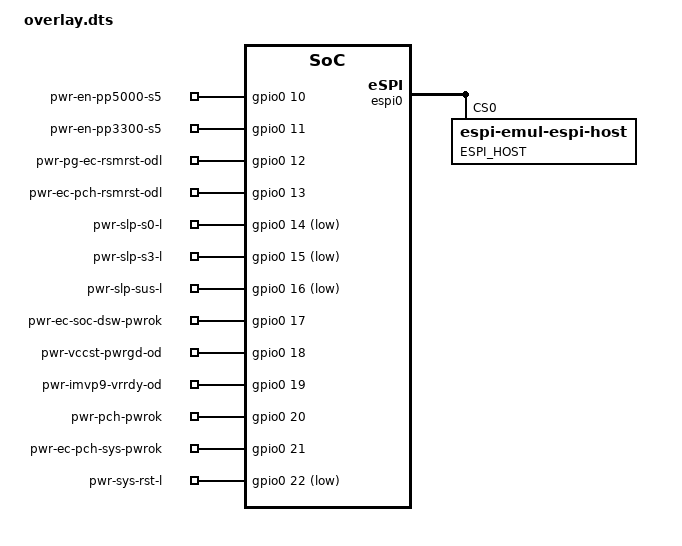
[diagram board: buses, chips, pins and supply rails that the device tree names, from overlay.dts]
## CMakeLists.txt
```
# Copyright 2021 The ChromiumOS Authors
# Use of this source code is governed by a BSD-style license that can be
# found in the LICENSE file.

cmake_minimum_required(VERSION 3.13.1)
find_package(Zephyr REQUIRED HINTS "${ZEPHYR_BASE}")
project(ap_power)

add_subdirectory(${PLATFORM_EC}/zephyr/test/test_utils test_utils)

# Include the local test directory for shimmed_test_tasks.h
zephyr_include_directories("${CMAKE_CURRENT_SOURCE_DIR}")
zephyr_include_directories("${CMAKE_CURRENT_SOURCE_DIR}/include")

target_sources(app PRIVATE
  src/ap_pwrseq.c
  src/console_command.c
  src/events.c
  src/hibdelay.c
  src/hibernate.c
  src/host_command.c
  src/test_mocks.c
  src/test_utils.c
  src/main.c)

# Generic architecture tests
target_sources_ifdef(CONFIG_TEST_AP_POWER_ADL app PRIVATE
  src/boards/alderlake.c src/signals.c)

target_sources_ifdef(CONFIG_TEST_AP_POWER_MTL app PRIVATE
  src/boards/meteorlake.c)

target_sources_ifdef(CONFIG_X86_NON_DSX_PWRSEQ_CONSOLE app PRIVATE
  src/pwrseq_console.c)

# Project specific tests
target_sources_ifdef(CONFIG_TEST_AP_POWER_BROX app PRIVATE
  ${PLATFORM_EC_PROGRAM_DIR}/brox/src/board_power.c)
```

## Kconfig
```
# Copyright 2022 The ChromiumOS Authors
# Use of this source code is governed by a BSD-style license that can be
# found in the LICENSE file.

config TEST_AP_POWER_ADL
	bool "AP power sequence tests for Alderlake"
	help
	  Run the AP power sequence tests for the Alderlake chipset.
	  This is a generic Alderlake implementation that doesn't
	  match a particular board.

config TEST_AP_POWER_MTL
	bool "AP power sequence tests for Meteorlake"
	help
	  Run the AP power sequence tests for the Meteorlake chipset.
	  This is a generic Meteorlake implementation that doesn't
	  match a particular board.

config TEST_AP_POWER_BROX
	bool "AP Power sequence tests for Brox project"
	help
	  Run the AP power sequence tests using the Brox devicetree
	  configuration and the Brox project specific source files.

config BOARD_BROX
	bool "Simulate Brox board"
	help
	  Simulate Brox board for testing purposes.


source "Kconfig.zephyr"
```

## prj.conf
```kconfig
# Copyright 2022 The ChromiumOS Authors
# Use of this source code is governed by a BSD-style license that can be
# found in the LICENSE file.

CONFIG_ZTEST=y
CONFIG_ZTEST_ASSERT_VERBOSE=1
CONFIG_ZTEST_MOCKING=y
CONFIG_ZTEST_PARAMETER_COUNT=24
CONFIG_TEST=y
CONFIG_ASSERT=y

# Print logs from Zephyr LOG_MODULE to stdout
CONFIG_NATIVE_UART_0_ON_STDINOUT=y

# Simulate 10 ticks per ms
CONFIG_SYS_CLOCK_TICKS_PER_SEC=10000
CONFIG_TASKS_SET_TEST_RUNNER_TID_RULE=y

# Enable exception stack traces for better errors
CONFIG_EXCEPTION_STACK_TRACE=y

# Enable debugging features
CONFIG_DEBUG=y
CONFIG_X86_DEBUG_INFO=y
CONFIG_DEBUG_OPTIMIZATIONS=y
CONFIG_PLATFORM_EC_CONSOLE_DEBUG=y
CONFIG_SHELL_BACKEND_DUMMY=y
CONFIG_SHELL_BACKEND_SERIAL=n
# We aren't using the serial console, but there is still a lot of code that
# assumes that a serial port exists.
CONFIG_SERIAL=y

CONFIG_PLATFORM_EC=y
CONFIG_CROS_EC=y
CONFIG_SHIMMED_TASKS=y
CONFIG_EMUL=y
CONFIG_GPIO=y
CONFIG_HEAP_MEM_POOL_SIZE=1024

CONFIG_AP_PWRSEQ_STACK_SIZE=1024

CONFIG_ESPI=y
CONFIG_EMUL_ESPI_HOST=y
CONFIG_ESPI_PERIPHERAL_ACPI_SHM_REGION=y
CONFIG_ESPI_PERIPHERAL_CUSTOM_OPCODE=y
CONFIG_ESPI_PERIPHERAL_EC_HOST_CMD=y
CONFIG_PLATFORM_EC_HOSTCMD=y
CONFIG_PLATFORM_EC_CHIPSET_RESET_HOOK=y

# Short delay for hibernate
CONFIG_PLATFORM_EC_HIBERNATE_DELAY_SEC=20

# These items are not required.
CONFIG_PLATFORM_EC_BACKLIGHT_LID=n
CONFIG_PLATFORM_EC_SWITCH=n
CONFIG_PLATFORM_EC_VBOOT_HASH=n

CONFIG_PLATFORM_EC_LID_SWITCH=y
CONFIG_PLATFORM_EC_POWER_BUTTON=y
CONFIG_PLATFORM_EC_HOST_INTERFACE_ESPI=y
```

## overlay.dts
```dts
/* Copyright 2022 The ChromiumOS Authors. All rights reserved.
 * Use of this source code is governed by a BSD-style license that can be
 * found in the LICENSE file.
 */

#include <cros/binman.dtsi>
#include <dt-bindings/gpio_defines.h>
#include <freq.h>

/ {
	chosen {
		cros-ec,espi = &espi0;
		intel-ap-pwrseq,espi = &espi0;
	};

	/*
	 * Keep these GPIOs in pin order.
	 * If you need to add one, make sure you increase
	 * ngpios in the gpio0 node further down.
	 */
	named-gpios {
		compatible = "named-gpios";

		gpio_ec_pwr_btn_odl: ec_pwr_btn_odl {
			/* GPIO_PULL_UP will cause this start asserted,
			 * i.e. not pressed.
			 */
			gpios = <&gpio0 1 (GPIO_INPUT | GPIO_PULL_UP)>;
			enum-name = "GPIO_POWER_BUTTON_L";
		};
		gpio_pch_pwrbtn_l: pch_pwrbtn_l {
			gpios = <&gpio0 2 GPIO_OUTPUT>;
			enum-name = "GPIO_PCH_PWRBTN_L";
		};
		gpio_ec_pch_wake_odl: ec_pch_wake_odl {
			gpios = <&gpio0 3 GPIO_OUTPUT_HIGH>;
		};
		gpio_lid_open_ec: lid_open_ec {
			/* GPIO_PULL_UP will cause this start asserted. */
			gpios = <&gpio0 4 (GPIO_INPUT | GPIO_PULL_UP)>;
			enum-name = "GPIO_LID_OPEN";
		};
	};
	gpio-interrupts {
		compatible = "cros-ec,gpio-interrupts";

		int_lid_open_ec: lid_open_ec {
			irq-pin = <&gpio_lid_open_ec>;
			flags = <GPIO_INT_EDGE_BOTH>;
			handler = "lid_interrupt";
		};
	};

	common-pwrseq {
		compatible = "intel,ap-pwrseq";
	};

	pwr-en-pp5000-s5 {
		compatible = "intel,ap-pwrseq-gpio";
		dbg-label = "PP5000_S5 enable output to regulator";
		enum-name = "PWR_EN_PP5000_A";
		gpios = <&gpio0 10 0>;
		output;
	};
	pwr-en-pp3300-s5 {
		compatible = "intel,ap-pwrseq-gpio";
		dbg-label = "PP3300_S5 enable output to LS";
		enum-name = "PWR_EN_PP3300_A";
		gpios = <&gpio0 11 0>;
		output;
	};
	pwr-pg-ec-rsmrst-odl {
		compatible = "intel,ap-pwrseq-gpio";
		dbg-label = "RSMRST power good from regulator";
		enum-name = "PWR_RSMRST";
		gpios = <&gpio0 12 0>;
		interrupt-flags = <GPIO_INT_EDGE_BOTH>;
	};
	pwr-ec-pch-rsmrst-odl {
		compatible = "intel,ap-pwrseq-gpio";
		dbg-label = "RSMRST output to PCH";
		enum-name = "PWR_EC_PCH_RSMRST";
		gpios = <&gpio0 13 0>;
		output;
	};
	pwr-slp-s0-l {
		compatible = "intel,ap-pwrseq-gpio";
		dbg-label = "SLP_S0_L input from PCH";
		enum-name = "PWR_SLP_S0";
		gpios = <&gpio0 14 GPIO_ACTIVE_LOW>;
		interrupt-flags = <GPIO_INT_EDGE_BOTH>;
		no-enable;
	};
	pwr-slp-s3-l {
		compatible = "intel,ap-pwrseq-gpio";
		dbg-label = "SLP_S3_L input from PCH";
		enum-name = "PWR_SLP_S3";
		gpios = <&gpio0 15 GPIO_ACTIVE_LOW>;
		interrupt-flags = <GPIO_INT_EDGE_BOTH>;
	};
	pwr-slp-sus-l {
		compatible = "intel,ap-pwrseq-gpio";
		dbg-label = "SLP_SUS_L input from PCH";
		enum-name = "PWR_SLP_SUS";
		gpios = <&gpio0 16 GPIO_ACTIVE_LOW>;
		interrupt-flags = <GPIO_INT_EDGE_BOTH>;
	};
	pwr-ec-soc-dsw-pwrok {
		compatible = "intel,ap-pwrseq-gpio";
		dbg-label = "DSW_PWROK output to PCH";
		enum-name = "PWR_EC_SOC_DSW_PWROK";
		gpios = <&gpio0 17 0>;
		output;
	};
	pwr-vccst-pwrgd-od {
		compatible = "intel,ap-pwrseq-gpio";
		dbg-label = "VCCST_PWRGD output to PCH";
		enum-name = "PWR_VCCST_PWRGD";
		gpios = <&gpio0 18 0>;
		output;
	};
	pwr-imvp9-vrrdy-od {
		compatible = "intel,ap-pwrseq-gpio";
		dbg-label = "VRRDY input from IMVP9";
		enum-name = "PWR_IMVP9_VRRDY";
		gpios = <&gpio0 19 0>;
	};
	pwr-pch-pwrok {
		compatible = "intel,ap-pwrseq-gpio";
		dbg-label = "PCH_PWROK output to PCH";
		enum-name = "PWR_PCH_PWROK";
		gpios = <&gpio0 20 0>;
		output;
	};
	pwr-ec-pch-sys-pwrok {
		compatible = "intel,ap-pwrseq-gpio";
		dbg-label = "SYS_PWROK output to PCH";
		enum-name = "PWR_EC_PCH_SYS_PWROK";
		gpios = <&gpio0 21 0>;
		output;
	};
	pwr-sys-rst-l {
		compatible = "intel,ap-pwrseq-gpio";
		dbg-label = "SYS_RESET# output to PCH";
		enum-name = "PWR_SYS_RST";
		gpios = <&gpio0 22 GPIO_ACTIVE_LOW>;
		output;
	};
	pwr-slp-s4 {
		compatible = "intel,ap-pwrseq-vw";
		dbg-label = "SLP_S4 virtual wire input from PCH";
		enum-name = "PWR_SLP_S4";
		virtual-wire = "ESPI_VWIRE_SIGNAL_SLP_S4";
		vw-invert;
	};
	pwr-slp-s5 {
		compatible = "intel,ap-pwrseq-vw";
		dbg-label = "SLP_S5 virtual wire input from PCH";
		enum-name = "PWR_SLP_S5";
		virtual-wire = "ESPI_VWIRE_SIGNAL_SLP_S5";
		vw-invert;
	};
	pwr-all-sys-pwrgd {
		compatible = "intel,ap-pwrseq-external";
		dbg-label = "Combined all power good";
		enum-name = "PWR_ALL_SYS_PWRGD";
	};
	pwr-pp3300-pwrok {
		compatible = "intel,ap-pwrseq-external";
		dbg-label = "PP3300 PWROK";
		enum-name = "PWR_DSW_PWROK";
	};
	pwr-pp1p05-pwrok {
		compatible = "intel,ap-pwrseq-external";
		dbg-label = "PP1P05 PWROK";
		enum-name = "PWR_PG_PP1P05";
	};

	clock: clock {
		compatible = "cros,clock-control-emul";
		clock-frequency = <DT_FREQ_M(100)>; /* 100 MHz */
	};
};

&espi0 {
	espi-host@0 {
		status = "okay";
		compatible = "zephyr,espi-emul-espi-host";
		reg = <0x0>;
		label = "ESPI_HOST";
	};
};

&gpio0 {
	ngpios = <23>;
};
```

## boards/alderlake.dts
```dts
/* Copyright 2022 The ChromiumOS Authors
 * Use of this source code is governed by a BSD-style license that can be
 * found in the LICENSE file.
 */

#include <dt-bindings/gpio_defines.h>
#include "alderlake_emul.dtsi"

/ {
	common-pwrseq {
		compatible = "intel,ap-pwrseq";
		s5-inactivity-timeout = <1>;
		all-sys-pwrgd-timeout = <50>;
	};

	en_pp5000: pwr-en-pp5000-s5 {
		compatible = "intel,ap-pwrseq-gpio";
		dbg-label = "PP5000_S5 enable output to regulator";
		enum-name = "PWR_EN_PP5000_A";
		gpios = <&gpio0 10 0>;
		output;
	};
	en_pp3300: pwr-en-pp3300-s5 {
		compatible = "intel,ap-pwrseq-gpio";
		dbg-label = "PP3300_S5 enable output to LS";
		enum-name = "PWR_EN_PP3300_A";
		gpios = <&gpio0 11 0>;
		output;
	};
	rsmrst: pwr-pg-ec-rsmrst-odl {
		compatible = "intel,ap-pwrseq-gpio";
		dbg-label = "RSMRST power good from regulator";
		enum-name = "PWR_RSMRST";
		gpios = <&gpio0 12 GPIO_ACTIVE_LOW>;
		interrupt-flags = <GPIO_INT_EDGE_BOTH>;
	};
	ec_pch_rsmrst: pwr-ec-pch-rsmrst-odl {
		compatible = "intel,ap-pwrseq-gpio";
		dbg-label = "RSMRST output to PCH";
		enum-name = "PWR_EC_PCH_RSMRST";
		gpios = <&gpio0 13 0>;
		output;
	};
	slp_s0: pwr-slp-s0-l {
		compatible = "intel,ap-pwrseq-gpio";
		dbg-label = "SLP_S0_L input from PCH";
		enum-name = "PWR_SLP_S0";
		gpios = <&gpio0 14 GPIO_ACTIVE_LOW>;
		interrupt-flags = <GPIO_INT_EDGE_BOTH>;
		no-enable;
	};
	slp_s3: pwr-slp-s3-l {
		compatible = "intel,ap-pwrseq-gpio";
		dbg-label = "SLP_S3_L input from PCH";
		enum-name = "PWR_SLP_S3";
		gpios = <&gpio0 15 GPIO_ACTIVE_LOW>;
		interrupt-flags = <GPIO_INT_EDGE_BOTH>;
	};
	slp_sus: pwr-slp-sus-l {
		compatible = "intel,ap-pwrseq-gpio";
		dbg-label = "SLP_SUS_L input from PCH";
		enum-name = "PWR_SLP_SUS";
		gpios = <&gpio0 16 GPIO_ACTIVE_LOW>;
		interrupt-flags = <GPIO_INT_EDGE_BOTH>;
	};
	ec_soc_dsw_pwrok: pwr-ec-soc-dsw-pwrok {
		compatible = "intel,ap-pwrseq-gpio";
		dbg-label = "DSW_PWROK output to PCH";
		enum-name = "PWR_EC_SOC_DSW_PWROK";
		gpios = <&gpio0 17 0>;
		output;
	};
	pwr-vccst-pwrgd-od {
		compatible = "intel,ap-pwrseq-gpio";
		dbg-label = "VCCST_PWRGD output to PCH";
		enum-name = "PWR_VCCST_PWRGD";
		gpios = <&gpio0 18 0>;
		output;
	};
	pwr-imvp9-vrrdy-od {
		compatible = "intel,ap-pwrseq-gpio";
		dbg-label = "VRRDY input from IMVP9";
		enum-name = "PWR_IMVP9_VRRDY";
		gpios = <&gpio0 19 0>;
	};
	pch_pwrok: pwr-pch-pwrok {
		compatible = "intel,ap-pwrseq-gpio";
		dbg-label = "PCH_PWROK output to PCH";
		enum-name = "PWR_PCH_PWROK";
		gpios = <&gpio0 20 0>;
		output;
	};
	pwr-ec-pch-sys-pwrok {
		compatible = "intel,ap-pwrseq-gpio";
		dbg-label = "SYS_PWROK output to PCH";
		enum-name = "PWR_EC_PCH_SYS_PWROK";
		gpios = <&gpio0 21 0>;
		output;
	};
	pwr-sys-rst-l {
		compatible = "intel,ap-pwrseq-gpio";
		dbg-label = "SYS_RESET# output to PCH";
		enum-name = "PWR_SYS_RST";
		gpios = <&gpio0 22 GPIO_ACTIVE_LOW>;
		output;
	};
	slp_s4: pwr-slp-s4 {
		compatible = "intel,ap-pwrseq-vw";
		dbg-label = "SLP_S4 virtual wire input from PCH";
		enum-name = "PWR_SLP_S4";
		virtual-wire = "ESPI_VWIRE_SIGNAL_SLP_S4";
		vw-invert;
	};
	slp_s5: pwr-slp-s5 {
		compatible = "intel,ap-pwrseq-vw";
		dbg-label = "SLP_S5 virtual wire input from PCH";
		enum-name = "PWR_SLP_S5";
		virtual-wire = "ESPI_VWIRE_SIGNAL_SLP_S5";
		vw-invert;
	};
	all_sys_pwrgd: pwr-all-sys-pwrgd {
		compatible = "intel,ap-pwrseq-external";
		dbg-label = "Combined all power good";
		enum-name = "PWR_ALL_SYS_PWRGD";
	};
	dsw_pwrok: pwr-pp3300-pwrok {
		compatible = "intel,ap-pwrseq-external";
		dbg-label = "PP3300 PWROK";
		enum-name = "PWR_DSW_PWROK";
	};

	adc0: adc {
		compatible = "zephyr,adc-emul";
		nchannels = <6>;
		ref-internal-mv = <3300>;
		#io-channel-cells = <1>;
		status = "okay";
	};
	mock_cmp_high: mock-cmp-high {
		compatible = "cros,vcmp-mock";
		threshold-mv = <50>;
		io-channels = <&adc0 0>;
	};
	mock_cmp_low: mock-cmp-low {
		compatible = "cros,vcmp-mock";
		threshold-mv = <100>;
		io-channels = <&adc0 1>;
	};
	pwr-pp1p05-pwrok {
		compatible = "intel,ap-pwrseq-adc";
		dbg-label = "PP1P05 PWROK (from ADC)";
		enum-name = "PWR_PG_PP1P05";
		trigger-high = <&mock_cmp_high>;
		trigger-low = <&mock_cmp_low>;
	};
};
```

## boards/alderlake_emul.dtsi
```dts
/* Copyright 2022 The ChromiumOS Authors
 * Use of this source code is governed by a BSD-style license that can be
 * found in the LICENSE file.
 */

/ {
	en_pp3300_emul: en-pp3300-emul {
		compatible = "intel,ap-pwr-signal-emul";
		input-signal = <&en_pp3300>;
		init-value = <0>;
		pp3300-dsw-pwrok-emul {
			output-signal = <&dsw_pwrok>;
			assert-delay-ms = <10>;
			init-value= <0>;
		};
	};

	en_pp5000_emul: en-pp5000-emul {
		compatible = "intel,ap-pwr-signal-emul";
		input-signal = <&en_pp5000>;
		init-value = <0>;
		pp5000-rsmrst-emul {
			output-signal = <&rsmrst>;
			assert-delay-ms = <40>;
			init-value= <0>;
		};
	};

	ec_soc_dsw_pwrok_emul: ec-soc-dsw-pwrok-emul {
		compatible = "intel,ap-pwr-signal-emul";
		input-signal = <&ec_soc_dsw_pwrok>;
		init-value = <0>;
		ec-dsw-pwrok-slp-sus-emul {
			output-signal = <&slp_sus>;
			assert-delay-ms = <95>;
			init-value= <1>;
			invert-value;
		};
	};

	ec_pch_rsmrst_emul: ec-pch-rsmrst-emul {
		compatible = "intel,ap-pwr-signal-emul";
		input-signal = <&ec_pch_rsmrst>;
		init-value = <1>;
		ec-pch-rsmrst-slp-s5-emul {
			output-signal = <&slp_s5>;
			deassert-delay-ms = <20>;
			init-value= <1>;
		};
		ec-pch-rsmrst-slp-s4-emul {
			output-signal = <&slp_s4>;
			deassert-delay-ms = <30>;
			init-value= <1>;
		};
		ec-pch-rsmrst-slp-s3-emul {
			output-signal = <&slp_s3>;
			deassert-delay-ms = <40>;
			init-value= <1>;
		};
		ec-pch-rsmrst-slp-s0-emul {
			output-signal = <&slp_s0>;
			deassert-delay-ms = <45>;
			init-value= <1>;
		};
		ec-pch-rsmrst-all-sys-pwrgd {
			output-signal = <&all_sys_pwrgd>;
			deassert-delay-ms = <50>;
			init-value= <0>;
			invert-value;
		};
	};

	tp-sys-g3-to-s0 {
		compatible = "intel,ap-pwr-test-platform";
		nodes = <&en_pp3300_emul &en_pp5000_emul
			      &ec_soc_dsw_pwrok_emul &ec_pch_rsmrst_emul>;
	};

	pch_pwrok_power_fail_emul: pch-pwrok-power-fail-emul {
		compatible = "intel,ap-pwr-signal-emul";
		input-signal = <&pch_pwrok>;
		init-value = <0>;
		pch-pwrok-dsw-pwrok-emul {
			output-signal = <&dsw_pwrok>;
			assert-delay-ms = <50>;
			invert-value;
		};
		pch-pwrok-slp-sus-emul {
			output-signal = <&slp_sus>;
			assert-delay-ms = <60>;
		};
	};

	tp-sys-s0-power-fail {
		compatible = "intel,ap-pwr-test-platform";
		nodes = <&pch_pwrok_power_fail_emul>;
	};

	pch_pwrok_power_down_emul: pch-pwrok-power-down-emul {
		compatible = "intel,ap-pwr-signal-emul";
		input-signal = <&pch_pwrok>;
		init-value = <0>;
		edge = "EDGE_ACTIVE_ON_ASSERT";
		pch-pwrok-slp-sus-emul {
			output-signal = <&slp_sus>;
			assert-delay-ms = <70>;
		};

		pch_pwrok-rsmrst-emul {
			output-signal = <&rsmrst>;
			assert-delay-ms = <60>;
		};

		pch-pwrok-slp-s5-emul {
			output-signal = <&slp_s5>;
			assert-delay-ms = <50>;
		};

		pch-pwrok-slp-s4-emul {
			output-signal = <&slp_s4>;
			assert-delay-ms = <30>;
		};

		pch-pwrok-slp-s3-emul {
			output-signal = <&slp_s3>;
			assert-delay-ms = <20>;
		};

		pch-pwrok-slp-s0-emul {
			output-signal = <&slp_s0>;
			assert-delay-ms = <15>;
		};
	};

	tp-sys-g3-to-s0-power-down {
		compatible = "intel,ap-pwr-test-platform";
		nodes = <&en_pp3300_emul &en_pp5000_emul
			      &ec_soc_dsw_pwrok_emul &ec_pch_rsmrst_emul
			      &pch_pwrok_power_down_emul>;
	};

	pch_pwrok_power_down_to_s5_emul: pch-pwrok-power-down-to-s5-emul {
		compatible = "intel,ap-pwr-signal-emul";
		input-signal = <&pch_pwrok>;
		init-value = <0>;
		edge = "EDGE_ACTIVE_ON_ASSERT";

		pch-pwrok-slp-s5-emul {
			output-signal = <&slp_s5>;
			assert-delay-ms = <60>;
		};

		pch-pwrok-slp-s4-emul {
			output-signal = <&slp_s4>;
			assert-delay-ms = <40>;
		};

		pch-pwrok-slp-s3-emul {
			output-signal = <&slp_s3>;
			assert-delay-ms = <20>;
		};

		pch-pwrok-slp-s0-emul {
			output-signal = <&slp_s0>;
			assert-delay-ms = <15>;
		};
		ec-pch-rsmrst-all-sys-pwrgd {
			output-signal = <&all_sys_pwrgd>;
			deassert-delay-ms = <10>;
			invert-value;
		};
	};

	tp-sys-g3-to-s0-power-down-to-s5 {
		compatible = "intel,ap-pwr-test-platform";
		nodes = <&en_pp3300_emul &en_pp5000_emul  &ec_pch_rsmrst_emul
			     &ec_soc_dsw_pwrok_emul  &pch_pwrok_power_down_to_s5_emul>;
	};

	tp-sys-s5-slp-sus-fail {
		compatible = "intel,ap-pwr-test-platform";
		nodes = <&en_pp3300_emul>;
	};

	ec_pch_rsmrst_s4_dsw_pwrok_fail_emul:
			ec-pch-rsmrst-s4-dsw-pwrok-fail-emul {
		compatible = "intel,ap-pwr-signal-emul";
		input-signal = <&ec_pch_rsmrst>;
		init-value = <1>;
		ec-pch-rsmrst-slp-s5-emul {
			output-signal = <&slp_s5>;
			deassert-delay-ms = <20>;
			init-value= <1>;
		};
		ec-pch-rsmrst-slp-s4-emul {
			output-signal = <&slp_s4>;
			deassert-delay-ms = <30>;
			init-value= <1>;
		};
		pch-pwrok-dsw-pwrok-emul {
			output-signal = <&dsw_pwrok>;
			deassert-delay-ms = <50>;
		};
	};

	tp-sys-s4-dsw-pwrok-fail {
		compatible = "intel,ap-pwr-test-platform";
		nodes = <&en_pp3300_emul &en_pp5000_emul &ec_soc_dsw_pwrok_emul
			     &ec_pch_rsmrst_s4_dsw_pwrok_fail_emul>;
	};

	ec_pch_rsmrst_s3_dsw_pwrok_fail_emul:
			ec-pch-rsmrst-s3-dsw-pwrok-fail-emul {
		compatible = "intel,ap-pwr-signal-emul";
		input-signal = <&ec_pch_rsmrst>;
		init-value = <1>;
		edge = "EDGE_ACTIVE_ON_DEASSERT";
		ec-pch-rsmrst-slp-s5-emul {
			output-signal = <&slp_s5>;
			deassert-delay-ms = <20>;
			init-value= <1>;
		};
		ec-pch-rsmrst-slp-s4-emul {
			output-signal = <&slp_s4>;
			deassert-delay-ms = <30>;
			init-value= <1>;
		};
		ec-pch-rsmrst-slp-s3-emul {
			output-signal = <&slp_s3>;
			deassert-delay-ms = <30>;
			init-value= <1>;
		};
		pch-pwrok-dsw-pwrok-emul {
			output-signal = <&dsw_pwrok>;
			deassert-delay-ms = <50>;
		};
	};

	tp-sys-s3-dsw-pwrok-fail {
		compatible = "intel,ap-pwr-test-platform";
		nodes = <&en_pp3300_emul &en_pp5000_emul &ec_soc_dsw_pwrok_emul
			     &ec_pch_rsmrst_s3_dsw_pwrok_fail_emul>;
	};

	ec_pch_rsmrst_s3_rsmrst_deassert_emul:
		ec-pch-rsmrst-s3-rsmrst-deassert-emul {
		compatible = "intel,ap-pwr-signal-emul";
		input-signal = <&ec_pch_rsmrst>;
		init-value = <1>;
		edge = "EDGE_ACTIVE_ON_DEASSERT";
		ec-pch-rsmrst-slp-s5-emul {
			output-signal = <&slp_s5>;
			deassert-delay-ms = <20>;
			init-value= <1>;
		};
		ec-pch-rsmrst-slp-s4-emul {
			output-signal = <&slp_s4>;
			deassert-delay-ms = <30>;
			init-value= <1>;
		};
		ec-pch-rsmrst-slp-s3-emul {
			output-signal = <&slp_s3>;
			deassert-delay-ms = <40>;
			init-value= <1>;
		};
		ec-pch-rsmrst-slp-s3-deassert-emul {
			output-signal = <&slp_s3>;
			deassert-delay-ms = <60>;
			invert-value;
		};
		pch_pch-rsmrst-rsmrst-deassert-emul {
			output-signal = <&rsmrst>;
			deassert-delay-ms = <100>;
		};
	};

	tp-sys-s3-rsmrst-fail {
		compatible = "intel,ap-pwr-test-platform";
		nodes = <&en_pp3300_emul &en_pp5000_emul &ec_soc_dsw_pwrok_emul
			     &ec_pch_rsmrst_s3_rsmrst_deassert_emul>;
	};

	pch_sleep: pch-sleep {
		compatible = "intel,ap-pwr-signal-emul";
		input-signal = <&pch_pwrok>;

		slp-s0-suspend-emul {
			output-signal = <&slp_s0>;
			init-value=<1>;
		};
	};

	tp-sys-sleep {
		compatible = "intel,ap-pwr-test-platform";
		nodes = <&pch_sleep>;
	};

	pch_wake: pch-wake {
		compatible = "intel,ap-pwr-signal-emul";
		input-signal = <&pch_pwrok>;

		slp-s0-resume-emul {
			output-signal = <&slp_s0>;
			init-value=<0>;
		};
	};

	tp-sys-wake {
		compatible = "intel,ap-pwr-test-platform";
		nodes = <&pch_wake>;
	};

};
```

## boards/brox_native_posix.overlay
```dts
/* Copyright 2023 The ChromiumOS Authors
 * Use of this source code is governed by a BSD-style license that can be
 * found in the LICENSE file.
 */

#include <board-overlays/native_posix.dts>
#include <dt-bindings/gpio_defines.h>
#include <it8xxx2_emul.dts>
#include "../../../program/brox/power_signals.dtsi"
#include "alderlake_emul.dtsi"

/ {
/delete-node/ pwrseq-common;
	pwrseq-common {
		s5-inactivity-timeout = <1>;
		dsw-pwrok-delay = <13>;
		sys-pwrok-delay = <10>;
		all-sys-pwrgd-timeout = <20>;
	};

	/*
	 * Create nodelabels matching the common alderlake emulator.
	 * Also clear the GPIO_OPEN_DRAIN flags on any power signals
	 * because open drain operation is not supported by the GPIO
	 * emulator.
	 */

	en_pp3300: pwr-en-s5-rails {
	};
	pwr_pg_vccin_aux_od: pwr-pg-vccin-aux-od {
	};
	rsmrst: pwr-pg-vccin-aux-od {
	};
	ec_pch_rsmrst: pwr-ec-pch-rsmrst-odl {
	};
	slp_s0: pwr-slp-s0-l {
	};
	slp_s3: pwr-slp-s3-l {
	};
	slp_s4: pwr-slp-s4-l {
	};
	slp_s5: pwr-slp-s5-l {
	};
	slp_sus: pwr-slp-sus-l {
	};
	dsw_pwrok: pwr-dsw-pwrok {
	};
	ec_soc_dsw_pwrok: pwr-ec-soc-dsw-pwrok {
	};
	pwr-vccst-pwrgd-od {
		gpios = <&gpioh 4 0>;
	};
	pch_pwrok: pwr-pch-pwrok {
		gpios = <&gpiob 5 0>;
	};
	pwr-sys-rst-l {
		gpios = <&gpiog 0 GPIO_ACTIVE_LOW>;
	};
	all_sys_pwrgd: pwr-all-sys-pwrgd {
	};
	pwr_imvp9_vrrdy_od: pwr-imvp9-vrrdy-od {
	};

	/* TODO: add emulator to drive PWR_IMVP9_VRRDY */

	/*
	 * Brox doesn't have a PG signal for the PP3300/PP5000 rails.
	 * To simulate a power loss, just turn off the enable signal.
	 */
	/delete-node/ en-pp3300-emul;
	en_pp3300_emul: en-pp3300-emul {
		compatible = "intel,ap-pwr-signal-emul";
		input-signal = <&en_pp3300>;
		init-value = <0>;
		pg-vccin-aux-od-emul {
			output-signal = <&pwr_pg_vccin_aux_od>;
			assert-delay-ms = <10>;
			init-value= <0>;
		};
	};

	/* Stub node - not referenced once all the devictrees merged. */
	en_pp5000_emul: en-pp5000-emul {
		compatible = "intel,ap-pwr-signal-emul";
		input-signal = <&en_pp3300>;
		init-value = <0>;
		pp5000-rsmrst-emul {
			output-signal = <&rsmrst>;
			assert-delay-ms = <40>;
			init-value= <0>;
		};
	};

	/delete-node/ ec-pch-rsmrst-s4-dsw-pwrok-fail-emul;
	ec_pch_rsmrst_s4_dsw_pwrok_fail_emul:
			ec-pch-rsmrst-s4-dsw-pwrok-fail-emul {
		compatible = "intel,ap-pwr-signal-emul";
		input-signal = <&ec_pch_rsmrst>;
		edge = "EDGE_ACTIVE_ON_DEASSERT";
		init-value = <1>;
		ec-pch-rsmrst-slp-s5-emul {
			output-signal = <&slp_s5>;
			deassert-delay-ms = <20>;
			init-value= <1>;
		};
		ec-pch-rsmrst-slp-s4-emul {
			output-signal = <&slp_s4>;
			deassert-delay-ms = <30>;
			init-value= <1>;
		};
		pch-pwrok-dsw-pwrok-emul {
			output-signal = <&slp_sus>;
			deassert-delay-ms = <50>;
			invert-value;
		};
	};

	/delete-node/ ec-pch-rsmrst-s3-dsw-pwrok-fail-emul;
	ec_pch_rsmrst_s3_dsw_pwrok_fail_emul:
			ec-pch-rsmrst-s3-dsw-pwrok-fail-emul {
		compatible = "intel,ap-pwr-signal-emul";
		input-signal = <&ec_pch_rsmrst>;
		init-value = <1>;
		edge = "EDGE_ACTIVE_ON_DEASSERT";
		ec-pch-rsmrst-slp-s5-emul {
			output-signal = <&slp_s5>;
			deassert-delay-ms = <20>;
			init-value= <1>;
		};
		ec-pch-rsmrst-slp-s4-emul {
			output-signal = <&slp_s4>;
			deassert-delay-ms = <30>;
			init-value= <1>;
		};
		ec-pch-rsmrst-slp-sus-emul {
			output-signal = <&slp_sus>;
			deassert-delay-ms = <31>;
			invert-value;
		};
	};
};

/* Assert IMVP9_VRRDY after all-sys-pwrgd */
&ec_pch_rsmrst_emul {
	all-sys-pwrgd-imvp9-vrrdy-emul {
		output-signal = <&pwr_imvp9_vrrdy_od>;
		assert-delay-ms = <51>;
		init-value= <0>;
		invert-value;
	};
};
```

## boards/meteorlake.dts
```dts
/* Copyright 2023 The ChromiumOS Authors
 * Use of this source code is governed by a BSD-style license that can be
 * found in the LICENSE file.
 */

#include <dt-bindings/gpio_defines.h>

/ {
	common-pwrseq {
		compatible = "intel,ap-pwrseq";
		s5-inactivity-timeout = <5>;
		all-sys-pwrgd-timeout = <50>;
	};

	en_pp3300: pwr-en-pp3300-s5 {
		compatible = "intel,ap-pwrseq-gpio";
		dbg-label = "PP3300_S5 enable output to LS";
		enum-name = "PWR_EN_PP3300_A";
		gpios = <&gpio0 11 0>;
		output;
	};
	ec_pch_rsmrst: pwr-ec-pch-rsmrst-odl {
		compatible = "intel,ap-pwrseq-gpio";
		dbg-label = "RSMRST output to PCH";
		enum-name = "PWR_EC_PCH_RSMRST";
		gpios = <&gpio0 13 GPIO_ACTIVE_LOW>;
		reset-val = <1>;
		output;
	};
	rsmrst: pwr-pg-ec-rsmrst-odl {
		compatible = "intel,ap-pwrseq-gpio";
		dbg-label = "RSMRST power good from regulator";
		enum-name = "PWR_RSMRST_PWRGD";
		gpios = <&gpio0 12 0>;
		interrupt-flags = <GPIO_INT_EDGE_BOTH>;
	};
	slp_s0: pwr-slp-s0-l {
		compatible = "intel,ap-pwrseq-gpio";
		dbg-label = "SLP_S0_L input from PCH";
		enum-name = "PWR_SLP_S0";
		gpios = <&gpio0 14 GPIO_ACTIVE_LOW>;
		interrupt-flags = <GPIO_INT_EDGE_BOTH>;
		no-enable;
	};
	slp_s3: pwr-slp-s3-l {
		compatible = "intel,ap-pwrseq-gpio";
		dbg-label = "SLP_S3_L input from PCH";
		enum-name = "PWR_SLP_S3";
		gpios = <&gpio0 15 GPIO_ACTIVE_LOW>;
		interrupt-flags = <GPIO_INT_EDGE_BOTH>;
	};
	pch_pwrok: pwr-pch-pwrok {
		compatible = "intel,ap-pwrseq-gpio";
		dbg-label = "PCH_PWROK output to PCH";
		enum-name = "PWR_PCH_PWROK";
		gpios = <&gpio0 20 0>;
		output;
	};
	pwr-ec-pch-sys-pwrok {
		compatible = "intel,ap-pwrseq-gpio";
		dbg-label = "SYS_PWROK output to PCH";
		enum-name = "PWR_EC_PCH_SYS_PWROK";
		gpios = <&gpio0 21 0>;
		output;
	};
	sys_rst: pwr-sys-rst-l {
		compatible = "intel,ap-pwrseq-gpio";
		dbg-label = "SYS_RESET# output to PCH";
		enum-name = "PWR_SYS_RST";
		gpios = <&gpio0 22 GPIO_ACTIVE_LOW>;
		output;
	};
	slp_s4: pwr-slp-s4 {
		compatible = "intel,ap-pwrseq-vw";
		dbg-label = "SLP_S4 virtual wire input from PCH";
		enum-name = "PWR_SLP_S4";
		virtual-wire = "ESPI_VWIRE_SIGNAL_SLP_S4";
		vw-invert;
	};
	slp_s5: pwr-slp-s5 {
		compatible = "intel,ap-pwrseq-vw";
		dbg-label = "SLP_S5 virtual wire input from PCH";
		enum-name = "PWR_SLP_S5";
		virtual-wire = "ESPI_VWIRE_SIGNAL_SLP_S5";
		vw-invert;
	};
	all_sys_pwrgd: pwr-all-sys-pwrgd {
		compatible = "intel,ap-pwrseq-gpio";
		dbg-label = "Combined all power good";
		enum-name = "PWR_ALL_SYS_PWRGD";
		gpios = <&gpio0 19 0>;
	};
	en_pp3300_emul: en-pp3300-emul {
		compatible = "intel,ap-pwr-signal-emul";
		input-signal = <&en_pp3300>;
		init-value = <0>;
		pp3300-rsmrst-emul {
			output-signal = <&rsmrst>;
			assert-delay-ms = <10>;
			init-value= <0>;
		};
	};

	ec_pch_rsmrst_emul: ec-pch-rsmrst-emul {
		compatible = "intel,ap-pwr-signal-emul";
		input-signal = <&ec_pch_rsmrst>;
		init-value = <1>;
		ec-pch-rsmrst-slp-s5-emul {
			output-signal = <&slp_s5>;
			deassert-delay-ms = <20>;
			init-value= <1>;
		};
		ec-pch-rsmrst-slp-s4-emul {
			output-signal = <&slp_s4>;
			deassert-delay-ms = <30>;
			init-value= <1>;
		};
		ec-pch-rsmrst-slp-s3-emul {
			output-signal = <&slp_s3>;
			deassert-delay-ms = <40>;
			init-value= <1>;
		};
		ec-pch-rsmrst-slp-s0-emul {
			output-signal = <&slp_s0>;
			deassert-delay-ms = <45>;
			init-value= <1>;
		};
		ec-pch-rsmrst-all-sys-pwrgd {
			output-signal = <&all_sys_pwrgd>;
			deassert-delay-ms = <50>;
			init-value= <0>;
			invert-value;
		};
	};

	ec_pch_rsmrst_rst_emul: ec-pch-rsmrst-rst-emul {
		compatible = "intel,ap-pwr-signal-emul";
		input-signal = <&ec_pch_rsmrst>;
		init-value = <1>;
		ec-pch-rsmrst-slp-s5-emul {
			output-signal = <&slp_s5>;
			deassert-delay-ms = <20>;
			init-value= <1>;
		};
		ec-pch-rsmrst-slp-s4-emul {
			output-signal = <&slp_s4>;
			deassert-delay-ms = <30>;
			init-value= <1>;
		};
		ec-pch-rsmrst-slp-s3-emul {
			output-signal = <&slp_s3>;
			deassert-delay-ms = <40>;
			init-value= <1>;
		};
		ec-pch-rsmrst-all-sys-pwrgd {
			output-signal = <&all_sys_pwrgd>;
			deassert-delay-ms = <50>;
			init-value= <0>;
			invert-value;
		};
		ec-pch-rsmrst-slp-s0-emul {
			output-signal = <&slp_s0>;
			assert-delay-ms = <150>;
			init-value= <0>;
			invert-value;
		};
	};
	tp-sys-g3-to-s0 {
		compatible = "intel,ap-pwr-test-platform";
		nodes = <&en_pp3300_emul &ec_pch_rsmrst_emul>;
	};

	pch_pwrok_power_fail_emul: pch-pwrok-power-fail-emul {
		compatible = "intel,ap-pwr-signal-emul";
		input-signal = <&pch_pwrok>;
		init-value = <0>;
		edge = "EDGE_ACTIVE_ON_ASSERT";
		pch-pwrok-rsmrst-emul {
			output-signal = <&rsmrst>;
			assert-delay-ms = <60>;
			invert-value;
		};
	};

	tp-sys-s0-power-fail {
		compatible = "intel,ap-pwr-test-platform";
		nodes = <&pch_pwrok_power_fail_emul>;
	};

	pch_pwrok_power_down_emul: pch-pwrok-power-down-emul {
		compatible = "intel,ap-pwr-signal-emul";
		input-signal = <&pch_pwrok>;
		init-value = <0>;
		edge = "EDGE_ACTIVE_ON_ASSERT";
		pch_pwrok-rsmrst-emul {
			output-signal = <&rsmrst>;
			assert-delay-ms = <90>;
		};

		pch-pwrok-slp-s5-emul {
			output-signal = <&slp_s5>;
			assert-delay-ms = <60>;
		};

		pch-pwrok-slp-s4-emul {
			output-signal = <&slp_s4>;
			assert-delay-ms = <40>;
		};

		pch-pwrok-slp-s3-emul {
			output-signal = <&slp_s3>;
			assert-delay-ms = <20>;
		};

		pch-pwrok-slp-s0-emul {
			output-signal = <&slp_s0>;
			assert-delay-ms = <15>;
		};
	};

	tp-sys-g3-to-s0-power-down {
		compatible = "intel,ap-pwr-test-platform";
		nodes = <&en_pp3300_emul &ec_pch_rsmrst_emul
			      &pch_pwrok_power_down_emul>;
	};

	pch_pwrok_power_down_to_s5_emul: pch-pwrok-power-down-to-s5-emul {
		compatible = "intel,ap-pwr-signal-emul";
		input-signal = <&pch_pwrok>;
		init-value = <0>;
		edge = "EDGE_ACTIVE_ON_ASSERT";

		pch-pwrok-slp-s5-emul {
			output-signal = <&slp_s5>;
			assert-delay-ms = <60>;
		};

		pch-pwrok-slp-s4-emul {
			output-signal = <&slp_s4>;
			assert-delay-ms = <40>;
		};

		pch-pwrok-slp-s3-emul {
			output-signal = <&slp_s3>;
			assert-delay-ms = <20>;
		};

		pch-pwrok-slp-s0-emul {
			output-signal = <&slp_s0>;
			assert-delay-ms = <15>;
		};
		ec-pch-rsmrst-all-sys-pwrgd {
			output-signal = <&all_sys_pwrgd>;
			deassert-delay-ms = <10>;
			invert-value;
		};
	};

	tp-sys-g3-to-s0-power-down-to-s5 {
		compatible = "intel,ap-pwr-test-platform";
		nodes = <&en_pp3300_emul &ec_pch_rsmrst_emul
			      &pch_pwrok_power_down_to_s5_emul>;
	};

	ec_pch_rsmrst_s3_rsmrst_deassert_emul:
		ec-pch-rsmrst-s3-rsmrst-deassert-emul {
		compatible = "intel,ap-pwr-signal-emul";
		input-signal = <&ec_pch_rsmrst>;
		init-value = <1>;
		edge = "EDGE_ACTIVE_ON_DEASSERT";
		ec-pch-rsmrst-slp-s5-emul {
			output-signal = <&slp_s5>;
			deassert-delay-ms = <20>;
			init-value= <1>;
		};
		ec-pch-rsmrst-slp-s4-emul {
			output-signal = <&slp_s4>;
			deassert-delay-ms = <30>;
			init-value= <1>;
		};
		ec-pch-rsmrst-slp-s3-emul {
			output-signal = <&slp_s3>;
			deassert-delay-ms = <40>;
			init-value= <1>;
		};
		ec-pch-rsmrst-slp-s3-deassert-emul {
			output-signal = <&slp_s3>;
			deassert-delay-ms = <60>;
			invert-value;
		};
		pch_pch-rsmrst-rsmrst-deassert-emul {
			output-signal = <&rsmrst>;
			deassert-delay-ms = <100>;
		};
	};

	tp-sys-s3-rsmrst-fail {
		compatible = "intel,ap-pwr-test-platform";
		nodes = <&en_pp3300_emul
				&ec_pch_rsmrst_s3_rsmrst_deassert_emul>;
	};

	pch_sleep: pch-sleep {
		compatible = "intel,ap-pwr-signal-emul";
		input-signal = <&pch_pwrok>;

		slp-s0-suspend-emul {
			output-signal = <&slp_s0>;
			init-value=<1>;
		};
	};

	tp-sys-sleep {
		compatible = "intel,ap-pwr-test-platform";
		nodes = <&pch_sleep>;
	};

	sys_rst_slp_s0_emul: sys-rst-slp-s0-emul {
		compatible = "intel,ap-pwr-signal-emul";
		input-signal = <&sys_rst>;
		init-value = <0>;
		edge = "EDGE_ACTIVE_ON_ASSERT";
		sys-rst-slp-s0-emul {
			output-signal = <&slp_s0>;
			deassert-delay-ms = <1>;
	        };
		sys-rst-rsmrst-emul {
			output-signal = <&rsmrst>;
			assert-delay-ms = <100>;
			invert-value;
	        };
	};

	tp-sys-g3-to-sleep-reset-then-power-fail {
		compatible = "intel,ap-pwr-test-platform";
		nodes = <&en_pp3300_emul &ec_pch_rsmrst_rst_emul &sys_rst_slp_s0_emul>;
	};

	pch_wake: pch-wake {
		compatible = "intel,ap-pwr-signal-emul";
		input-signal = <&pch_pwrok>;

		slp-s0-resume-emul {
			output-signal = <&slp_s0>;
			init-value=<0>;
		};
	};

	tp-sys-wake {
		compatible = "intel,ap-pwr-test-platform";
		nodes = <&pch_wake>;
	};
};
```

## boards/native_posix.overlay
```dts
/* Copyright 2022 The ChromiumOS Authors
 * Use of this source code is governed by a BSD-style license that can be
 * found in the LICENSE file.
 */

#include <board-overlays/native_posix.dts>
#include <cros/binman.dtsi>
#include <dt-bindings/gpio_defines.h>
#include <freq.h>

/ {
	chosen {
		cros-ec,espi = &espi0;
		intel-ap-pwrseq,espi = &espi0;
	};

	/*
	 * Keep these GPIOs in pin order.
	 * If you need to add one, make sure you increase
	 * ngpios in the gpio0 node further down.
	 */
	named-gpios {
		compatible = "named-gpios";

		gpio_ec_pwr_btn_odl: ec_pwr_btn_odl {
			/* GPIO_PULL_UP will cause this start asserted,
			 * i.e. not pressed.
			 */
			gpios = <&gpio0 1 (GPIO_INPUT | GPIO_PULL_UP)>;
			enum-name = "GPIO_POWER_BUTTON_L";
		};
		gpio_pch_pwrbtn_l: pch_pwrbtn_l {
			gpios = <&gpio0 2 GPIO_OUTPUT>;
			enum-name = "GPIO_PCH_PWRBTN_L";
		};
		gpio_ec_pch_wake_odl: ec_pch_wake_odl {
			gpios = <&gpio0 3 GPIO_OUTPUT_HIGH>;
		};
		gpio_lid_open_ec: lid_open_ec {
			/* GPIO_PULL_UP will cause this start asserted. */
			gpios = <&gpio0 4 (GPIO_INPUT | GPIO_PULL_UP)>;
			enum-name = "GPIO_LID_OPEN";
		};
	};
	gpio-interrupts {
		compatible = "cros-ec,gpio-interrupts";

		int_lid_open_ec: lid_open_ec {
			irq-pin = <&gpio_lid_open_ec>;
			flags = <GPIO_INT_EDGE_BOTH>;
			handler = "lid_interrupt";
		};
	};

	clock: clock {
		compatible = "cros,clock-control-emul";
		clock-frequency = <DT_FREQ_M(100)>; /* 100 MHz */
	};
};

&espi0 {
	espi-host@0 {
		status = "okay";
		compatible = "zephyr,espi-emul-host";
		reg = <0x0>;
	};
};

&gpio0 {
	ngpios = <23>;
};
```

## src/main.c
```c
/* Copyright 2022 The ChromiumOS Authors. All rights reserved.
 * Use of this source code is governed by a BSD-style license that can be
 * found in the LICENSE file.
 */

#include <zephyr/zephyr.h>
#include <ztest.h>
#include "ec_app_main.h"
#include "test_state.h"

bool ap_power_predicate_pre_main(const void *state)
{
	return ((struct test_state *)state)->ec_app_main_run == false;
}

bool ap_power_predicate_post_main(const void *state)
{
	return !ap_power_predicate_pre_main(state);
}

void test_main(void)
{
	struct test_state state = {
		.ec_app_main_run = false,
	};

	/* Run all the suites that depend on main not being called yet */
	ztest_run_test_suites(&state);

	ec_app_main();
	state.ec_app_main_run = true;

	/* Run all the suites that depend on main being called */
	ztest_run_test_suites(&state);

	/* Check that every suite ran */
	ztest_verify_all_test_suites_ran();
}
```

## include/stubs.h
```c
/* Copyright 2022 The Chromium OS Authors. All rights reserved.
 * Use of this source code is governed by a BSD-style license that can be
 * found in the LICENSE file.
 */

#ifndef __ZEPHYR_TEST_AP_POWER_INCLUDE_STUBS_H_
#define __ZEPHYR_TEST_AP_POWER_INCLUDE_STUBS_H_

void new_chipset_force_shutdown(void);

#endif /* __ZEPHYR_TEST_AP_POWER_INCLUDE_STUBS_H_ */
```

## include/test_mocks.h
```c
<<<<<<< HEAD   (c8af73 Revert "Merge remote-tracking branch cros/main into factory-)
=======
/* Copyright 2022 The ChromiumOS Authors
 * Use of this source code is governed by a BSD-style license that can be
 * found in the LICENSE file.
 */

#ifndef __TEST_AP_POWER_TEST_MOCKS_H
#define __TEST_AP_POWER_TEST_MOCKS_H

#include <stdint.h>

#include <zephyr/fff.h>

/*
 * Mock declarations
 */

/* Mocks for common/extpower_gpio.c */
DECLARE_FAKE_VALUE_FUNC(int, extpower_is_present);

/* Mocks for common/system.c */
DECLARE_FAKE_VOID_FUNC(system_hibernate, uint32_t, uint32_t);
DECLARE_FAKE_VALUE_FUNC(int, system_can_boot_ap);

#endif /* __TEST_AP_POWER_TEST_MOCKS_H */
>>>>>>> BRANCH (2c3025 PCHG: Print next event in pchg console command)
```

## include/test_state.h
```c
/* Copyright 2022 The ChromiumOS Authors
  Use of this source code is governed by a BSD-style license that can be
 * found in the LICENSE file.
 */

#ifndef ZEPHYR_TEST_AP_POWER_INCLUDE_TEST_STATE_H_
#define ZEPHYR_TEST_AP_POWER_INCLUDE_TEST_STATE_H_

#include <stdbool.h>

struct test_state {
	bool ec_app_main_run;
};

bool ap_power_predicate_pre_main(const void *state);

bool ap_power_predicate_post_main(const void *state);

#endif /* ZEPHYR_TEST_AP_POWER_INCLUDE_TEST_STATE_H_ */
```

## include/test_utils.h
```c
/* Copyright 2025 The ChromiumOS Authors
 * Use of this source code is governed by a BSD-style license that can be
 * found in the LICENSE file.
 */
#ifndef ZEPHYR_TEST_DRIVERS_INCLUDE_UTILS_H_
#define ZEPHYR_TEST_DRIVERS_INCLUDE_UTILS_H_

#if defined(CONFIG_SHELL_BACKEND_DUMMY)
/**
 * @brief Checks console command with expected console output and expected
 * return value
 *
 */
#define CHECK_CONSOLE_CMD(cmd, expected_output, expected_rv)                 \
	check_console_cmd((cmd), (expected_output), (expected_rv), __FILE__, \
			  __LINE__)
void check_console_cmd(const char *cmd, const char *expected_output,
		       const int expected_rv, const char *file, const int line);

/**
 * @brief Checks console command and reads it.
 *
 */
#define SCAN_CONSOLE_CMD(cmd, expected_rv, expected_count, format, ...)    \
	scan_console_cmd((cmd), (expected_rv), (expected_count), __FILE__, \
			 __LINE__, (format), __VA_ARGS__)
void scan_console_cmd(const char *cmd, const int expected_rv,
		      const int expected_count, const char *file,
		      const int line, const char *format, ...);
#endif /* CONFIG_SHELL_BACKEND_DUMMY */
#endif /* ZEPHYR_TEST_DRIVERS_INCLUDE_UTILS_H_ */
```

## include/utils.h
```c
/* Copyright 2022 The Chromium OS Authors. All rights reserved.
 * Use of this source code is governed by a BSD-style license that can be
 * found in the LICENSE file.
 */

#ifndef ZEPHYR_TEST_AP_POWER_INCLUDE_UTILS_H_
#define ZEPHYR_TEST_AP_POWER_INCLUDE_UTILS_H_

/*
 * TODO(b/217755888): Implement ztest assume API upstream
 */

/**
 * @brief Assume that this function call won't be reached
 * @param msg Optional message to print if the assumption fails
 */
#define zassume_unreachable(msg, ...) zassert_unreachable(msg, ##__VA_ARGS__)

/**
 * @brief Assume that @a cond is true
 * @param cond Condition to check
 * @param msg Optional message to print if the assumption fails
 */
#define zassume_true(cond, msg, ...) zassert_true(cond, msg, ##__VA_ARGS__)

/**
 * @brief Assume that @a cond is false
 * @param cond Condition to check
 * @param msg Optional message to print if the assumption fails
 */
#define zassume_false(cond, msg, ...) zassert_false(cond, msg, ##__VA_ARGS__)

/**
 * @brief Assume that @a cond is 0 (success)
 * @param cond Condition to check
 * @param msg Optional message to print if the assumption fails
 */
#define zassume_ok(cond, msg, ...) zassert_ok(cond, msg, ##__VA_ARGS__)

/**
 * @brief Assume that @a ptr is NULL
 * @param ptr Pointer to compare
 * @param msg Optional message to print if the assumption fails
 */
#define zassume_is_null(ptr, msg, ...) zassert_is_null(ptr, msg, ##__VA_ARGS__)

/**
 * @brief Assume that @a ptr is not NULL
 * @param ptr Pointer to compare
 * @param msg Optional message to print if the assumption fails
 */
#define zassume_not_null(ptr, msg, ...) \
	zassert_not_null(ptr, msg, ##__VA_ARGS__)

/**
 * @brief Assume that @a a equals @a b
 *
 * @a a and @a b won't be converted and will be compared directly.
 *
 * @param a Value to compare
 * @param b Value to compare
 * @param msg Optional message to print if the assumption fails
 */
#define zassume_equal(a, b, msg, ...) zassert_equal(a, b, msg, ##__VA_ARGS__)

/**
 * @brief Assume that @a a does not equal @a b
 *
 * @a a and @a b won't be converted and will be compared directly.
 *
 * @param a Value to compare
 * @param b Value to compare
 * @param msg Optional message to print if the assumption fails
 */
#define zassume_not_equal(a, b, msg, ...) \
	zassert_not_equal(a, b, msg, ##__VA_ARGS__)

/**
 * @brief Assume that @a a equals @a b
 *
 * @a a and @a b will be converted to `void *` before comparing.
 *
 * @param a Value to compare
 * @param b Value to compare
 * @param msg Optional message to print if the assumption fails
 */
#define zassume_equal_ptr(a, b, msg, ...) \
	zassert_equal_ptr(a, b, msg, ##__VA_ARGS__)

/**
 * @brief Assume that @a a is within @a b with delta @a d
 *
 * @param a Value to compare
 * @param b Value to compare
 * @param d Delta
 * @param msg Optional message to print if the assumption fails
 */
#define zassume_within(a, b, d, msg, ...) \
	zassert_within(a, b, d, msg, ##__VA_ARGS__)

/**
 * @brief Assume that 2 memory buffers have the same contents
 *
 * This macro calls the final memory comparison assumption macro.
 * Using double expansion allows providing some arguments by macros that
 * would expand to more than one values (ANSI-C99 defines that all the macro
 * arguments have to be expanded before macro call).
 *
 * @param ... Arguments, see @ref zassume_mem_equal__
 *            for real arguments accepted.
 */
#define zassume_mem_equal(...) zassert_mem_equal(##__VA_ARGS__)

void new_chipset_force_shutdown(void);

#endif /* ZEPHYR_TEST_AP_POWER_INCLUDE_UTILS_H_ */
```

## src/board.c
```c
/* Copyright 2022 The ChromiumOS Authors
 * Use of this source code is governed by a BSD-style license that can be
 * found in the LICENSE file.
 */

#include <zephyr/kernel.h>
#include <zephyr/ztest.h>

#include <ap_power/ap_power_interface.h>
#include <ap_power_override_functions.h>
#include <power_signals.h>
#include <timer.h>
#include <x86_power_signals.h>

static bool signal_PWR_ALL_SYS_PWRGD;
static bool signal_PWR_DSW_PWROK;
static bool signal_PWR_PG_PP1P05;

int board_power_signal_set(enum power_signal signal, int value)
{
	switch (signal) {
	default:
		zassert_unreachable("Unknown signal");
		return -1;

	case PWR_ALL_SYS_PWRGD:
		signal_PWR_ALL_SYS_PWRGD = value;
		return 0;

	case PWR_DSW_PWROK:
		signal_PWR_DSW_PWROK = value;
		return 0;

	case PWR_PG_PP1P05:
		signal_PWR_PG_PP1P05 = value;
		return 0;
	}
}

int board_power_signal_get(enum power_signal signal)
{
	switch (signal) {
	default:
		zassert_unreachable("Unknown signal");
		return -1;

	case PWR_ALL_SYS_PWRGD:
		return signal_PWR_ALL_SYS_PWRGD;

	case PWR_DSW_PWROK:
		return signal_PWR_DSW_PWROK;

	case PWR_PG_PP1P05:
		return signal_PWR_PG_PP1P05;
	}
}
```

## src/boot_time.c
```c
/* Copyright 2025 The ChromiumOS Authors
 * Use of this source code is governed by a BSD-style license that can be
 * found in the LICENSE file.
 */

#include "common.h"
#include "hooks.h"
#include "host_command.h"
#include "test_state.h"
#include "test_utils.h"
#include "timer.h"

#include <zephyr/shell/shell_dummy.h>
#include <zephyr/ztest.h>

#include <ap_power/ap_pwrseq.h>

static void time_mock_after(void *state)
{
	get_time_mock = NULL;
}

/**
 * Test boot time is set
 */
ZTEST(boot_time_no_tasks, test_boot_time_set)
{
	uint64_t time_S5 = 0;
	uint64_t time_S0 = 0;
	timestamp_t fake_time;
	get_time_mock = &fake_time;

	fake_time.val = 0;

	on_new_state(AP_POWER_STATE_G3);

	zassert_ok(get_boot_time(AP_POWER_STATE_S5, &time_S5));
	zassert_ok(get_boot_time(AP_POWER_STATE_S0, &time_S0));
	zassert_equal(time_S5, (uint64_t)-1, "time_S5=%llu", time_S5);
	zassert_equal(time_S0, (uint64_t)-1, "time_S0=%llu", time_S0);

	fake_time.val = USEC_PER_SEC;
	on_new_state(AP_POWER_STATE_S5);

	zassert_ok(get_boot_time(AP_POWER_STATE_S5, &time_S5));
	zassert_ok(get_boot_time(AP_POWER_STATE_S0, &time_S0));
	zassert_equal(time_S5, USEC_PER_SEC, "time_S5=%llu", time_S5);
	zassert_equal(time_S0, (uint64_t)-1, "time_S0=%llu", time_S0);

	fake_time.val = 2 * USEC_PER_SEC;
	on_new_state(AP_POWER_STATE_S0);

	zassert_ok(get_boot_time(AP_POWER_STATE_S5, &time_S5));
	zassert_ok(get_boot_time(AP_POWER_STATE_S0, &time_S0));
	zassert_equal(time_S5, USEC_PER_SEC, "time_S5=%llu", time_S5);
	zassert_equal(time_S0, 2 * USEC_PER_SEC, "time_S0=%llu", time_S0);

	/* Test second time does not overwrite the first time. */
	fake_time.val = 3 * USEC_PER_SEC;
	on_new_state(AP_POWER_STATE_S5);

	zassert_ok(get_boot_time(AP_POWER_STATE_S5, &time_S5));
	zassert_ok(get_boot_time(AP_POWER_STATE_S0, &time_S0));
	zassert_equal(time_S5, USEC_PER_SEC, "time_S5=%llu", time_S5);
	zassert_equal(time_S0, 2 * USEC_PER_SEC, "time_S0=%llu", time_S0);
}

/**
 * Test boottime ec console command
 */
ZTEST_USER(boot_time, test_boot_time_console_cmd)
{
	int64_t time_S5;
	int64_t time_S0;
	CHECK_CONSOLE_CMD("boottime", NULL, EC_ERROR_PARAM_COUNT);
	CHECK_CONSOLE_CMD("boottime 123", NULL, EC_ERROR_PARAM1);

	/*
	Example output:

	[00:00:24.764,900] <inf> ap_pwrseq: first S5: 1000ms
	*/
	SCAN_CONSOLE_CMD("boottime S5", EC_SUCCESS, 1,
			 "%*[^f]f%*[^i]irst S5: %lldms", &time_S5);
	SCAN_CONSOLE_CMD("boottime S0", EC_SUCCESS, 1,
			 "%*[^f]f%*[^i]irst S0: %lldms", &time_S0);
	zassert_not_equal(time_S5, -1);
	zassert_not_equal(time_S0, -1);
	zassert_true(time_S5 <= time_S0);
}

ZTEST_SUITE(boot_time_no_tasks, ap_power_predicate_pre_main, NULL,
	    time_mock_after, NULL, NULL);
ZTEST_SUITE(boot_time, ap_power_predicate_post_main, NULL, NULL, NULL, NULL);
```

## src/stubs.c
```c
/* Copyright 2022 The Chromium OS Authors. All rights reserved.
 * Use of this source code is governed by a BSD-style license that can be
 * found in the LICENSE file.
 */

#include "chipset.h"

/*
 * There are some collisions between the old chipset API and
 * the new API.
 */
void chipset_force_shutdown(enum chipset_shutdown_reason reason)
{
}

void notify_espi_ready(bool ready)
{
}
```

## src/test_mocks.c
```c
<<<<<<< HEAD   (c8af73 Revert "Merge remote-tracking branch cros/main into factory-)
=======
/* Copyright 2022 The ChromiumOS Authors
 * Use of this source code is governed by a BSD-style license that can be
 * found in the LICENSE file.
 */

#include "test_mocks.h"

#include <zephyr/fff.h>
#include <zephyr/ztest.h>

/* Mocks for common/extpower_gpio.c */
DEFINE_FAKE_VALUE_FUNC(int, extpower_is_present);

/* Mocks for common/system.c */
DEFINE_FAKE_VOID_FUNC(system_hibernate, uint32_t, uint32_t);
DEFINE_FAKE_VALUE_FUNC(int, system_can_boot_ap);

/**
 * @brief Reset all the fakes before each test.
 */
static void fff_reset_rule_before(const struct ztest_unit_test *test,
				  void *data)
{
	ARG_UNUSED(test);
	ARG_UNUSED(data);

	RESET_FAKE(extpower_is_present);
	RESET_FAKE(system_hibernate);
	RESET_FAKE(system_can_boot_ap);
	system_can_boot_ap_fake.return_val = 1;
}

ZTEST_RULE(fff_reset_rule, fff_reset_rule_before, NULL);
>>>>>>> BRANCH (2c3025 PCHG: Print next event in pchg console command)
```
